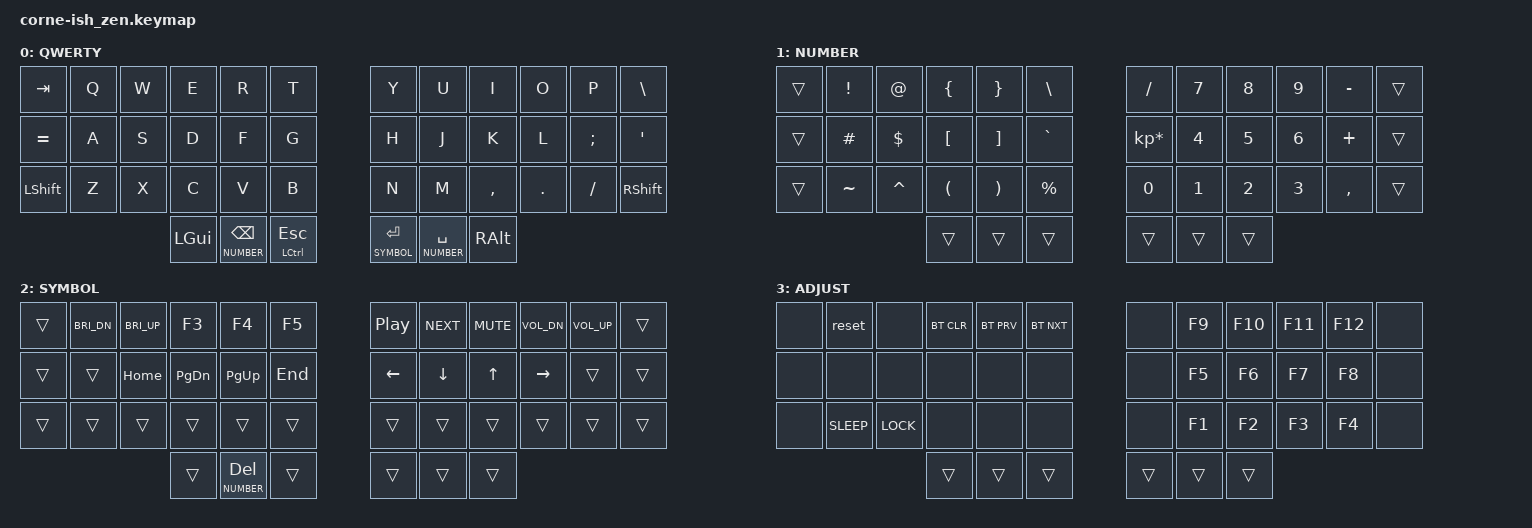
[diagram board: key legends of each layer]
/*
*
* Copyright (c) 2021 Darryl deHaan
* SPDX-License-Identifier: MIT
*
*/

#include <behaviors.dtsi>
#include <dt-bindings/zmk/keys.h>
#include <dt-bindings/zmk/bt.h>

#define QWERTY 0
#define NUMBER 1
#define SYMBOL 2
#define ADJUST 3

/ {
        // From: https://zmk.dev/docs/behaviors/hold-tap/#comparison-to-qmk
        // `balanced` flavour is similar to `PERMISSIVE_HOLD` setting in qmk
        behaviors {
            bhm: balanced_homerow_mods {
                compatible = "zmk,behavior-hold-tap";
                label = "HOMEROW_MODS";
                #binding-cells = <2>;
                tapping-term-ms = <200>;    // <---[[moderate duration]]
                quick-tap-ms = <0>;
                flavor = "balanced";
                bindings = <&kp>, <&kp>;
            };
        };

        conditional_layers {
          compatible = "zmk,conditional-layers";
          tri_layer {
            if-layers = <1 2>;
            then-layer = <3>;
          };
        };

        keymap {
                compatible = "zmk,keymap";

                default_layer {
                        label = "QWERTY";
// -----------------------------------------------------------------------------------------
// |  TAB |  Q  |  W  |  E  | R        |     T    |   |    Y    |    U     |  I  |  O  |  P  |  \   |
// |  =   |  A  |  S  |  D  | F        |     G    |   |    H    |    J     |  K  |  L  |  ;  |  '   |
// | SHFT |  Z  |  X  |  C  | V        |     B    |   |    N    |    M     |  ,  |  .  |  /  | SHFT |
//                    | GUI | NUM_BSPC | CTRL_ESC |   | SYM_ENT | NUM_SPC  | ALT |
                        bindings = <
   &kp TAB    &kp Q  &kp W  &kp E     &kp R            &kp T            &kp Y          &kp U  &kp I      &kp O    &kp P     &kp BSLH
   &kp EQUAL  &kp A  &kp S  &kp D     &kp F            &kp G            &kp H          &kp J  &kp K      &kp L    &kp SEMI  &kp SQT
   &kp LSHFT  &kp Z  &kp X  &kp C     &kp V            &kp B            &kp N          &kp M  &kp COMMA  &kp DOT  &kp FSLH  &kp RSHFT
                            &kp LGUI  &lt NUMBER BSPC  &mt LCTRL ESC    &mt SYMBOL RET &mt NUMBER SPACE  &kp RALT
                        >;
                };

                lower_layer {
                        label = "NUMBER";
                        // TODO: Find where to put & key. for now shift-7.
// -----------------------------------------------------------------------------------------
// |      |  !  |  @  |  {  |  }  |  \  |   |  /  |  7  |  8  |  9  |  -  |      |
// |      |  #  |  $  |  [  |  ]  |  `  |   |  *  |  4  |  5  |  6  |  +  |      |
// |      |  ~  |  ^  |  (  |  )  |  %  |   |  0  |  1  |  2  |  3  |  ,  |      |
//                    |     |     |     |   | ENT |     |     |
                        bindings = <
   &trans  &kp EXCL   &kp AT     &kp LBRC  &kp RBRC  &kp BSLH         &kp FSLH         &kp N7  &kp N8  &kp N9  &kp MINUS  &trans
   &trans  &kp HASH   &kp DLLR   &kp LBKT  &kp RBKT  &kp GRAVE        &kp KP_MULTIPLY  &kp N4  &kp N5  &kp N6  &kp PLUS   &trans
   &trans  &kp TILDE  &kp CARET  &kp LPAR  &kp RPAR  &kp PRCNT        &kp N0           &kp N1  &kp N2  &kp N3  &kp COMMA  &trans
                          	     &trans    &trans    &trans           &trans           &trans  &trans
                        >;
                };

                raise_layer {
                        label = "SYMBOL";
// -----------------------------------------------------------------------------------------
// |      | BDN | BUP | F3  | F4  | F5  |   | PLY | FFD | MUT | VDN | VUP |      |
// |      |     | HOM | PDN | PUP | END |   | LFT | DWN | UP  | RT  |     |      |
// |      |     |     |     |     |     |   |     |     |     |     |     |      |
//                    |     | DEL |     |   |     | SPC |     |
                        bindings = <
   &trans    &kp C_BRI_DN  &kp C_BRI_UP  &kp F3         &kp F4        &kp F5          &kp C_PP  &kp C_NEXT  &kp C_MUTE  &kp C_VOL_DN  &kp C_VOL_UP   &trans
   &trans    &trans        &kp HOME      &kp PG_DN   &kp PG_UP  &kp END      &kp LEFT  &kp DOWN    &kp UP      &kp RIGHT     &trans         &trans
   &trans    &trans        &trans        &trans      &trans     &trans       &trans    &trans      &trans      &trans        &trans         &trans
                    	     &trans        &lt NUMBER  DEL        &trans       &trans    &trans      &trans
                        >;
                };

                nav_layer {
                        label = "ADJUST";
// -----------------------------------------------------------------------------------------
// |      | RST |     |BTCLR|BTPRV|BTNXT|   |     | F9  | F10 | F11 | F12 |      |
// |      |     |     |     |     |     |   |     | F5  | F6  | F7  | F8  |      |
// |      | SLP | LCK |     |     |     |   |     | F1  | F2  | F3  | F4  |      |
//                    |     |     |     |   |     |     |     |
                        bindings = <
   &none  &reset       &none       &bt BT_CLR  &bt BT_PRV  &bt BT_NXT      &none   &kp F9  &kp F10  &kp F11  &kp F12  &none
   &none  &none        &none       &none       &none       &none           &none   &kp F5  &kp F6   &kp F7   &kp F8   &none
   &none  &kp C_SLEEP  &kp K_LOCK  &none       &none       &none           &none   &kp F1  &kp F2   &kp F3   &kp F4   &none
                                   &trans      &trans      &trans          &trans  &trans  &trans   
                        >;
                };
        };
};
